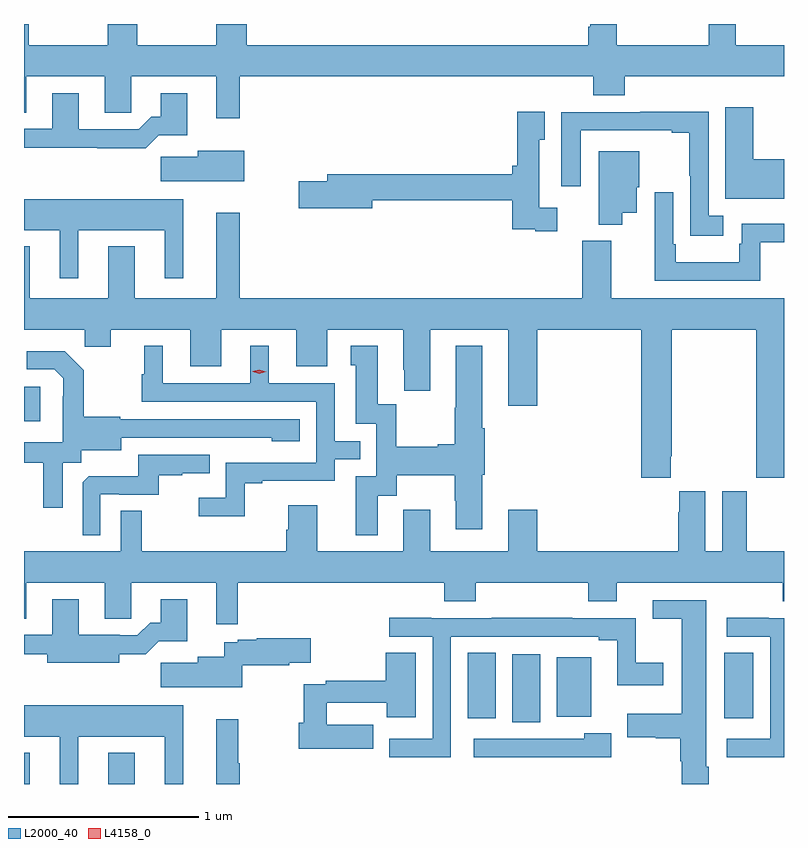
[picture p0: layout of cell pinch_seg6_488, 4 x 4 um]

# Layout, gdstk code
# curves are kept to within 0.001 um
import gdstk
lib = gdstk.Library(unit=1e-6, precision=1e-09)
def R(c, l, rs):  # rectangles x0, y0, x1, y1
    for r in rs: c.add(gdstk.rectangle(r[:2], r[2:], *l))
def P(c, l, *ps):  # polygons
    for p in ps: c.add(gdstk.Polygon(p, *l))
L2000_40 = (2000, 40)
L4158_0 = (4158, 0)

pinch_seg6_488 = lib.new_cell('pinch_seg6_488')
R(pinch_seg6_488, L2000_40, [(885.612,951.604,885.643,951.769), (886.055,951.604,886.195,951.769), (888.182,951.928,888.328,952.288), (887.948,951.951,888.094,952.295), (889.298,951.951,889.45,952.295), (888.416,951.959,888.598,952.27), (885.612,953.514,885.697,953.694)])
P(pinch_seg6_488, L2000_40, [(886.747,955.328),(888.608,955.328),(888.608,955.229),(888.773,955.229),(888.773,955.328),(889.612,955.328),(889.612,955.492),(889.357,955.492),(889.357,955.604),(889.217,955.604),(889.217,955.492),(888.733,955.492),(888.733,955.604),(888.593,955.604),(888.593,955.59),(888.581,955.59),(888.581,955.492),(886.784,955.492),(886.784,955.604),(886.624,955.604),(886.624,955.492),(886.209,955.492),(886.209,955.604),(886.054,955.604),(886.054,955.492),(885.637,955.492),(885.637,955.604),(885.612,955.604),(885.612,955.138),(885.625,955.138),(885.625,955.328),(886.037,955.328),(886.037,955.138),(886.176,955.138),(886.176,955.328),(886.625,955.328),(886.625,955.107),(886.747,955.107)],
  [(886.322,955.019),(886.471,955.019),(886.471,955.24),(886.331,955.24),(886.331,955.117),(886.282,955.117),(886.215,955.05),(885.901,955.05),(885.901,955.24),(885.761,955.24),(885.761,955.053),(885.612,955.053),(885.612,954.952),(885.997,954.952),(885.997,954.95),(886.253,954.95)],
  [(889.612,954.892),(889.45,954.892),(889.45,955.165),(889.304,955.165),(889.304,954.683),(889.612,954.683)],
  [(889.291,954.594),(889.215,954.594),(889.215,955.142),(888.856,955.142),(888.856,955.14),(888.44,955.14),(888.44,954.75),(888.541,954.75),(888.541,955.044),(889.022,955.044),(889.022,955.032),(889.114,955.032),(889.114,954.805),(889.119,954.805),(889.119,954.489),(889.291,954.489)],
  [(888.418,954.638),(888.324,954.638),(888.324,954.996),(888.352,954.996),(888.352,955.141),(888.208,955.141),(888.208,954.859),(888.182,954.859),(888.182,954.812),(887.207,954.812),(887.207,954.776),(887.058,954.776),(887.058,954.634),(887.446,954.634),(887.446,954.676),(888.182,954.676),(888.182,954.524),(888.302,954.524),(888.302,954.514),(888.418,954.514)],
  [(886.771,954.937),(886.526,954.937),(886.526,954.905),(886.332,954.905),(886.332,954.776),(886.771,954.776)],
  [(888.76,954.611),(888.838,954.611),(888.838,954.744),(888.85,954.744),(888.85,954.934),(888.638,954.934),(888.638,954.548),(888.76,954.548)],
  [(889.486,954.456),(889.612,954.456),(889.612,954.553),(889.389,954.553),(889.389,954.447),(889.377,954.447),(889.377,954.349),(889.042,954.349),(889.042,954.445),(889.029,954.445),(889.029,954.718),(888.933,954.718),(888.933,954.458),(888.931,954.458),(888.931,954.252),(889.486,954.252)],
  [(885.898,954.518),(886.352,954.518),(886.352,954.267),(886.45,954.267),(886.45,954.682),(885.612,954.682),(885.612,954.518),(885.8,954.518),(885.8,954.267),(885.898,954.267)],
  [(889.015,953.329),(889.02,953.329),(889.02,953.996),(889.465,953.996),(889.465,953.217),(889.612,953.217),(889.612,954.16),(888.703,954.16),(888.703,954.463),(888.551,954.463),(888.551,954.16),(886.747,954.16),(886.747,954.61),(886.625,954.61),(886.625,954.16),(886.195,954.16),(886.195,954.433),(886.055,954.433),(886.055,954.16),(885.643,954.16),(885.643,954.433),(885.612,954.433),(885.612,953.996),(885.931,953.996),(885.931,953.906),(886.069,953.906),(886.069,953.996),(886.487,953.996),(886.487,953.802),(886.651,953.802),(886.651,953.996),(887.045,953.996),(887.045,953.802),(887.209,953.802),(887.209,953.996),(887.609,953.996),(887.609,953.785),(887.612,953.785),(887.612,953.673),(887.749,953.673),(887.749,953.996),(888.161,953.996),(888.161,953.595),(888.314,953.595),(888.314,953.996),(888.86,953.996),(888.86,953.217),(889.015,953.217)],
  [(886.773,953.187),(886.867,953.187),(886.867,953.199),(887.247,953.199),(887.247,953.313),(887.381,953.313),(887.381,953.409),(887.247,953.409),(887.247,953.712),(886.9,953.712),(886.9,953.911),(886.802,953.911),(886.802,953.712),(886.342,953.712),(886.342,953.911),(886.244,953.911),(886.244,953.76),(886.233,953.76),(886.233,953.616),(887.151,953.616),(887.151,953.295),(886.674,953.295),(886.674,953.11),(886.533,953.11),(886.533,953.012),(886.773,953.012)],
  [(887.473,953.122),(887.575,953.122),(887.575,953.228),(887.878,953.228),(887.878,953.094),(887.885,953.094),(887.885,952.944),(888.025,952.944),(888.025,953.232),(888.038,953.232),(888.038,953.476),(888.025,953.476),(888.025,953.911),(887.885,953.911),(887.885,953.585),(887.878,953.585),(887.878,953.393),(887.789,953.393),(887.789,953.38),(887.571,953.38),(887.571,953.603),(887.473,953.603),(887.473,953.911),(887.333,953.911),(887.333,953.808),(887.357,953.808),(887.357,953.499),(887.466,953.499),(887.466,953.223),(887.357,953.223),(887.357,952.914),(887.473,952.914)],
  [(885.817,953.296),(885.912,953.296),(885.912,953.36),(886.123,953.36),(886.123,953.427),(886.917,953.426),(886.917,953.408),(887.062,953.408),(887.062,953.523),(886.119,953.523),(886.119,953.536),(885.927,953.536),(885.927,953.781),(885.827,953.881),(885.627,953.881),(885.627,953.787),(885.771,953.787),(885.818,953.74),(885.818,953.645),(885.816,953.645),(885.816,953.404),(885.612,953.404),(885.612,953.294),(885.713,953.294),(885.713,953.058),(885.817,953.058)],
  [(886.014,953.13),(886.114,953.13),(886.114,953.127),(886.322,953.127),(886.322,953.229),(886.445,953.229),(886.445,953.24),(886.589,953.24),(886.589,953.337),(886.212,953.337),(886.212,953.225),(885.953,953.225),(885.921,953.193),(885.921,952.913),(886.014,952.913)],
  [(886.737,952.664),(887.825,952.664),(887.825,952.565),(887.99,952.565),(887.99,952.664),(888.581,952.664),(888.581,952.565),(888.733,952.565),(888.733,952.664),(889.606,952.664),(889.606,952.565),(889.612,952.565),(889.612,952.828),(889.417,952.828),(889.417,953.146),(889.286,953.146),(889.286,952.828),(889.198,952.828),(889.198,953.146),(889.061,953.146),(889.061,953.033),(889.055,953.033),(889.055,952.828),(888.314,952.828),(888.314,953.047),(888.161,953.047),(888.161,952.828),(887.749,952.828),(887.749,953.047),(887.609,953.047),(887.609,952.828),(887.155,952.828),(887.155,953.071),(887.003,953.071),(887.003,952.941),(886.991,952.941),(886.991,952.828),(886.231,952.828),(886.231,953.042),(886.122,953.042),(886.122,952.828),(885.612,952.828),(885.612,952.474),(885.625,952.474),(885.625,952.664),(886.037,952.664),(886.037,952.474),(886.176,952.474),(886.176,952.664),(886.625,952.664),(886.625,952.444),(886.737,952.444)],
  [(886.114,952.286),(886.253,952.286),(886.322,952.355),(886.471,952.355),(886.471,952.576),(886.331,952.576),(886.331,952.453),(886.276,952.453),(886.209,952.386),(886.115,952.386),(886.115,952.389),(885.901,952.389),(885.901,952.576),(885.761,952.576),(885.761,952.389),(885.612,952.389),(885.612,952.288),(885.734,952.288),(885.734,952.241),(886.114,952.241)],
  [(889.217,951.694),(889.204,951.694),(889.204,952.572),(888.921,952.572),(888.921,952.474),(889.073,952.474),(889.073,951.973),(888.787,951.973),(888.787,951.851),(888.936,951.851),(888.936,951.844),(889.066,951.844),(889.066,951.725),(889.073,951.725),(889.073,951.604),(889.217,951.604)],
  [(887.859,952.38),(888.638,952.38),(888.638,952.36),(888.734,952.36),(888.734,952.124),(888.976,952.124),(888.976,952.243),(888.831,952.243),(888.831,952.476),(888.497,952.476),(888.497,952.478),(888.073,952.478),(888.073,952.476),(887.756,952.476),(887.756,952.478),(887.535,952.478),(887.535,952.38),(887.763,952.38),(887.763,951.843),(887.535,951.843),(887.535,951.745),(887.859,951.745)],
  [(889.612,952.476),(889.532,952.476),(889.532,952.478),(889.311,952.478),(889.311,952.38),(889.539,952.38),(889.539,951.843),(889.311,951.843),(889.311,951.745),(889.612,951.745)],
  [(886.761,952.229),(887.009,952.229),(887.009,952.241),(887.122,952.241),(887.122,952.371),(886.837,952.371),(886.837,952.363),(886.737,952.363),(886.737,952.351),(886.665,952.351),(886.665,952.273),(886.526,952.273),(886.526,952.241),(886.332,952.241),(886.332,952.112),(886.761,952.112)],
  [(887.45,951.917),(887.206,951.917),(887.206,952.032),(887.522,952.032),(887.522,951.955),(887.674,951.955),(887.674,952.295),(887.515,952.295),(887.515,952.148),(887.2,952.148),(887.2,952.128),(887.085,952.128),(887.085,951.927),(887.059,951.927),(887.059,951.79),(887.45,951.79)],
  [(885.898,951.854),(886.352,951.854),(886.352,951.604),(886.45,951.604),(886.45,952.018),(885.612,952.018),(885.612,951.854),(885.8,951.854),(885.8,951.604),(885.898,951.604)],
  [(886.747,951.713),(886.739,951.713),(886.739,951.946),(886.625,951.946),(886.625,951.604),(886.747,951.604)],
  [(888.702,951.871),(888.561,951.871),(888.561,951.843),(887.979,951.843),(887.979,951.746),(888.702,951.746)])
P(pinch_seg6_488, L4158_0, [(886.851,953.764),(886.815,953.775),(886.815,953.776),(886.815,953.776),(886.851,953.784),(886.887,953.773),(886.887,953.773),(886.887,953.773)])

lib.write_gds('pinch_seg6_488.gds')
